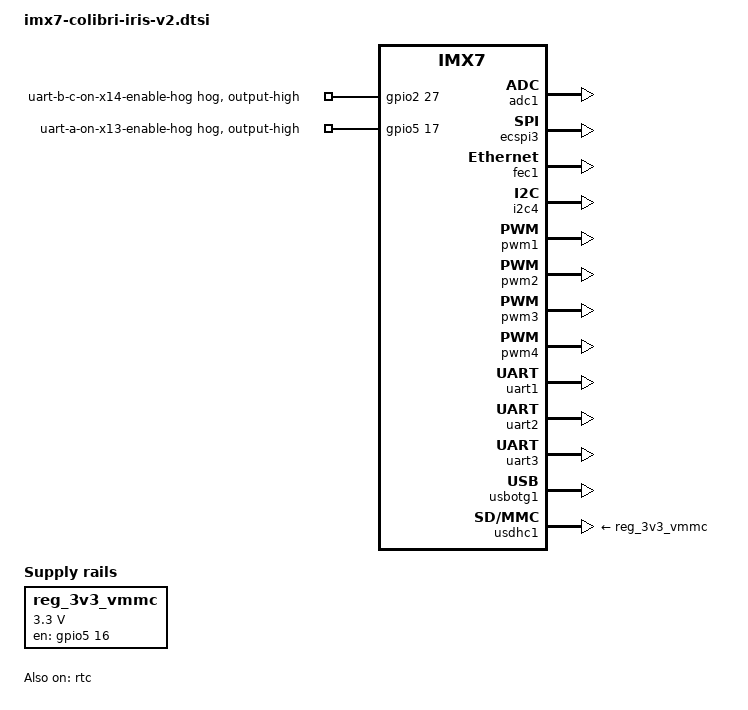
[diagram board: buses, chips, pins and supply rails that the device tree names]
// SPDX-License-Identifier: GPL-2.0-or-later OR MIT
/*
 * Copyright 2022 Toradex
 */

/ {
	reg_3v3_vmmc: regulator-3v3-vmmc {
		compatible = "regulator-fixed";
		enable-active-high;
		gpio = <&gpio5 16 GPIO_ACTIVE_HIGH>; /* SODIMM 100 */
		regulator-max-microvolt = <3300000>;
		regulator-min-microvolt = <3300000>;
		regulator-name = "3v3_vmmc";
		startup-delay-us = <100>;
	};
};

/* Colibri AD0 to AD3 */
&adc1 {
	status = "okay";
};

/* Colibri SSP */
&ecspi3 {
	status = "okay";
};

/* Colibri Fast Ethernet */
&fec1 {
	status = "okay";
};

&gpio2 {
	/*
	 * uart_b_c_on_x14_enable turns the UART transceiver for UART2 and 5 on. If one wants to
	 * turn the transceiver off, that property has to be deleted and the gpio handled in
	 * userspace.
	 * The same applies to uart_a_on_x13_enable where the UART_A transceiver is turned on.
	 */
	uart-b-c-on-x14-enable-hog {
		gpio-hog;
		gpios = <27 GPIO_ACTIVE_HIGH>; /* SODIMM 104 */
		output-high;
	};
};

&gpio5 {
	uart-a-on-x13-enable-hog {
		gpio-hog;
		gpios = <17 GPIO_ACTIVE_HIGH>; /* SODIMM 102 */
		output-high;
	};
};

/* Colibri I2C: I2C3_SDA/SCL on SODIMM 194/196 */
&i2c4 {
	status = "okay";
};

/* Colibri PWM<A> */
&pwm1 {
	status = "okay";
};

/* Colibri PWM<B> */
&pwm2 {
	status = "okay";
};

/* Colibri PWM<C> */
&pwm3 {
	status = "okay";
};

/* Colibri PWM<D> */
&pwm4 {
	status = "okay";
};

/* M41T0M6 real time clock */
&rtc {
	status = "okay";
};

/* Colibri UART_A */
&uart1 {
	status = "okay";
};

/* Colibri UART_B */
&uart2 {
	status = "okay";
};

/* Colibri UART_C */
&uart3 {
	status = "okay";
};

/* Colibri USBC */
&usbotg1 {
	status = "okay";
};

/* Colibri MMC/SD, UHS-I capable uSD slot */
&usdhc1 {
	cap-power-off-card;
	/delete-property/ keep-power-in-suspend;
	/delete-property/ no-1-8-v;
	vmmc-supply = <&reg_3v3_vmmc>;
	status = "okay";
};
